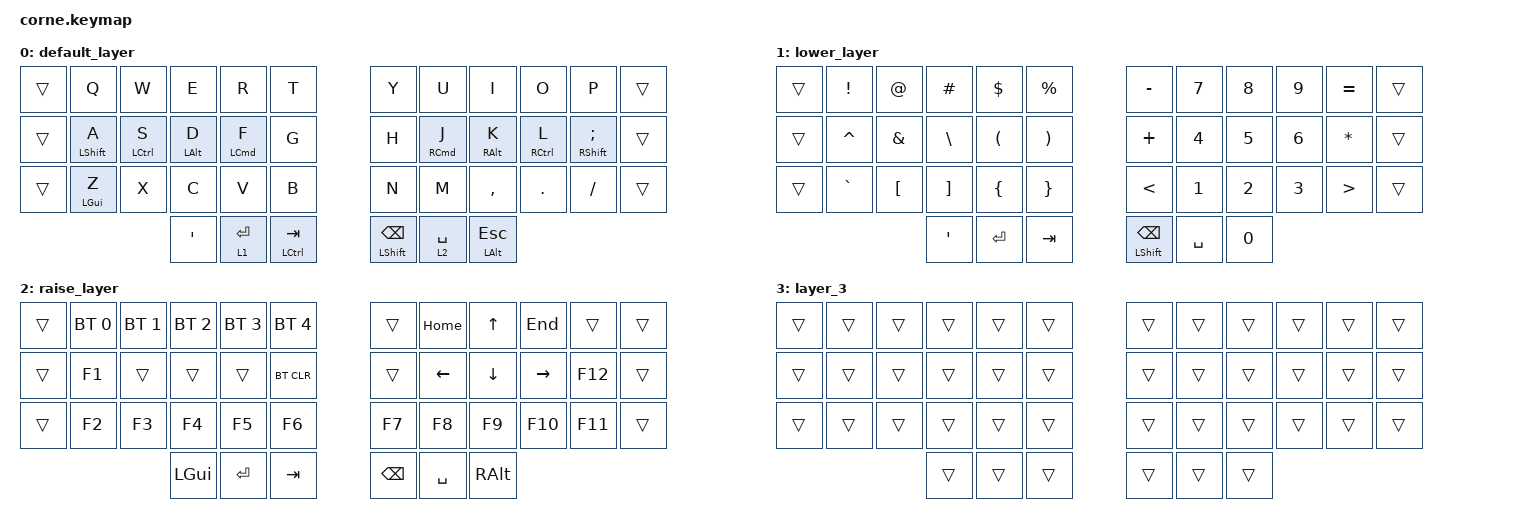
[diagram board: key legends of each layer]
/*
 * Copyright (c) 2020 The ZMK Contributors
 *
 * SPDX-License-Identifier: MIT
 */

#include <behaviors.dtsi>
#include <dt-bindings/zmk/bt.h>
#include <dt-bindings/zmk/keys.h>

&mt { tapping-term-ms = <350>; };

/ {
    keymap {
        compatible = "zmk,keymap";

        default_layer {
            // -----------------------------------------------------------------------------------------
            // |  TAB |  Q  |  W  |  E  |  R  |  T  |   |  Y  |  U   |  I  |  O  |  P  | BSPC |
            // | CTRL |  A  |  S  |  D  |  F  |  G  |   |  H  |  J   |  K  |  L  |  ;  |  '   |
            // | SHFT |  Z  |  X  |  C  |  V  |  B  |   |  N  |  M   |  ,  |  .  |  /  | ESC  |
            //                    | GUI | LWR | SPC |   | ENT | RSE  | ALT |

            bindings = <
&trans  &kp Q             &kp W        &kp E           &kp R       &kp T            &kp Y                     &kp U        &kp I                &kp O                &kp P                      &trans
&trans  &mt LEFT_SHIFT A  &mt LCTRL S  &mt LEFT_ALT D  &mt LCMD F  &kp G            &kp H                     &mt RCMD J   &mt RIGHT_ALT K      &mt RIGHT_CONTROL L  &mt RIGHT_SHIFT SEMICOLON  &trans
&trans  &mt LGUI Z        &kp X        &kp C           &kp V       &kp B            &kp N                     &kp M        &kp COMMA            &kp DOT              &kp FSLH                   &trans
                                       &kp SQT         &lt 1 RET   &mt LCTRL TAB    &mt LEFT_SHIFT BACKSPACE  &lt 2 SPACE  &mt LEFT_ALT ESCAPE
            >;
        };

        lower_layer {
            // -----------------------------------------------------------------------------------------
            // |  TAB |  1  |  2  |  3  |  4  |  5  |   |  6  |  7  |  8  |  9  |  0  | BSPC |
            // | BTCLR| BT1 | BT2 | BT3 | BT4 | BT5 |   | LFT | DWN |  UP | RGT |     |      |
            // | SHFT |     |     |     |     |     |   |     |     |     |     |     |      |
            //                    | GUI |     | SPC |   | ENT |     | ALT |

            bindings = <
&trans  &kp EXCLAMATION  &kp AT_SIGN       &kp HASH           &kp DOLLAR            &kp PERCENT              &kp MINUS                 &kp N7        &kp N8        &kp N9        &kp EQUAL         &trans
&trans  &kp CARET        &kp AMPERSAND     &kp BACKSLASH      &kp LEFT_PARENTHESIS  &kp RIGHT_PARENTHESIS    &kp PLUS                  &kp NUMBER_4  &kp N5        &kp NUMBER_6  &kp ASTERISK      &trans
&trans  &kp GRAVE        &kp LEFT_BRACKET  &kp RIGHT_BRACKET  &kp LEFT_BRACE        &kp RIGHT_BRACE          &kp LESS_THAN             &kp NUMBER_1  &kp NUMBER_2  &kp NUMBER_3  &kp GREATER_THAN  &trans
                                           &kp SQT            &kp RET               &kp TAB                  &mt LEFT_SHIFT BACKSPACE  &kp SPACE     &kp N0
            >;
        };

        raise_layer {
            // -----------------------------------------------------------------------------------------
            // |  TAB |  !  |  @  |  #  |  $  |  %  |   |  ^  |  &  |  *  |  (  |  )  | BSPC |
            // | CTRL |     |     |     |     |     |   |  -  |  =  |  [  |  ]  |  \  |  `   |
            // | SHFT |     |     |     |     |     |   |  _  |  +  |  {  |  }  | "|" |  ~   |
            //                    | GUI |     | SPC |   | ENT |     | ALT |

            bindings = <
&trans  &bt BT_SEL 0  &bt BT_SEL 1  &bt BT_SEL 2  &bt BT_SEL 3  &bt BT_SEL 4    &trans         &kp HOME        &kp UP_ARROW    &kp END          &trans   &trans
&trans  &kp F1        &trans        &trans        &trans        &bt BT_CLR      &trans         &kp LEFT_ARROW  &kp DOWN_ARROW  &kp RIGHT_ARROW  &kp F12  &trans
&trans  &kp F2        &kp F3        &kp F4        &kp F5        &kp F6          &kp F7         &kp F8          &kp F9          &kp F10          &kp F11  &trans
                                    &kp LGUI      &kp RETURN    &kp TAB         &kp BACKSPACE  &kp SPACE       &kp RALT
            >;
        };

        layer_3 {
            bindings = <
&trans  &trans  &trans  &trans  &trans  &trans    &trans  &trans  &trans  &trans  &trans  &trans
&trans  &trans  &trans  &trans  &trans  &trans    &trans  &trans  &trans  &trans  &trans  &trans
&trans  &trans  &trans  &trans  &trans  &trans    &trans  &trans  &trans  &trans  &trans  &trans
                        &trans  &trans  &trans    &trans  &trans  &trans
            >;
        };
    };
};
